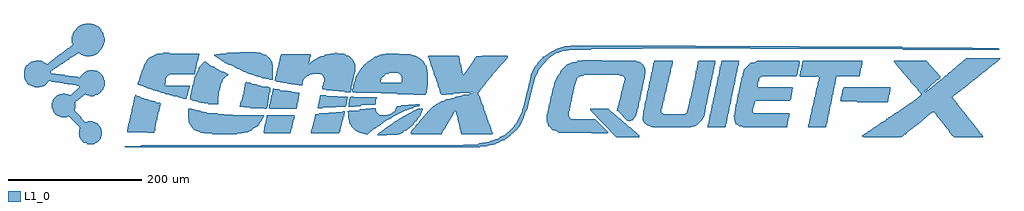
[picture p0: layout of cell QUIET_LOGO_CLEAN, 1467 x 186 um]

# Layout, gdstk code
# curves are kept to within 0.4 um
import gdstk
lib = gdstk.Library(unit=1e-6, precision=1e-09)
def P(c, l, *ps):  # polygons
    for p in ps: c.add(gdstk.Polygon(p, *l))
L1_0 = (1, 0)

quiet_logo_clean = lib.new_cell('QUIET_LOGO_CLEAN')
P(quiet_logo_clean, L1_0, [(404,77),(404,74),(403,73),(403,70),(402,69),(402,65),(401,64),(401,61),(400,60),(400,56),(399,55),(399,51),(400,50),(439,50),(440,51),(441,57),(442,58),(442,62),(443,63),(443,66),(444,67),(444,70),(445,71),(445,74),(446,75),(445,77)],
  [(521,83),(518,83),(517,82),(508,82),(507,81),(497,81),(496,80),(483,80),(482,79),(477,79),(477,76),(476,75),(476,72),(475,71),(475,68),(474,67),(474,64),(472,60),(472,57),(471,56),(471,53),(470,51),(471,50),(512,50),(514,53),(514,56),(515,57),(515,60),(516,61),(517,68),(519,72),(519,75),(520,76)],
  [(890,87),(890,85),(929,44),(964,44),(964,47),(963,47),(957,53),(956,53),(950,59),(949,59),(943,65),(942,65),(935,72),(934,72),(928,78),(927,78),(917,87)],
  [(286,87),(286,72),(287,71),(287,66),(290,62),(291,59),(296,55),(300,53),(302,53),(305,51),(309,51),(310,50),(321,50),(322,49),(359,49),(360,50),(366,50),(367,51),(370,51),(371,52),(375,52),(381,55),(383,57),(390,61),(393,65),(393,66),(396,69),(397,72),(400,76),(399,77),(354,77),(353,78),(340,78),(339,79),(331,79),(330,80),(314,81),(313,82),(305,83),(304,84),(301,84),(300,85),(296,85),(295,86),(292,86),(291,87)],
  [(638,87),(637,88),(631,87),(615,79),(613,77),(603,72),(601,70),(600,70),(598,68),(597,68),(595,66),(594,66),(592,64),(591,64),(589,62),(582,58),(579,55),(578,55),(575,52),(574,52),(570,48),(571,47),(584,47),(585,48),(600,48),(601,49),(604,49),(608,51),(610,53),(614,55),(617,58),(618,58),(621,61),(622,61),(625,64),(625,65),(630,70),(632,74),(635,77),(636,81),(637,82),(637,84),(638,85)],
  [(634,93),(633,94),(628,94),(627,93),(617,93),(616,92),(606,92),(605,91),(599,91),(599,89),(598,88),(597,84),(592,80),(588,78),(586,78),(585,77),(575,77),(573,78),(569,82),(568,84),(568,88),(561,88),(560,87),(553,87),(552,86),(544,86),(543,85),(528,84),(527,83),(525,83),(526,81),(526,73),(527,72),(529,64),(531,62),(531,61),(538,54),(544,51),(546,51),(547,50),(555,48),(560,53),(561,53),(564,56),(568,58),(571,61),(572,61),(583,69),(591,73),(593,75),(613,85),(615,85),(616,86),(618,86),(619,87),(621,87),(622,88),(624,88),(625,89),(633,91)],
  [(526,90),(536,90),(537,91),(545,91),(546,92),(566,93),(568,94),(568,100),(570,104),(536,104),(535,105),(530,105),(528,101),(528,98),(527,97),(527,91)],
  [(480,89),(481,88),(488,88),(489,89),(507,89),(508,90),(522,90),(524,94),(524,98),(525,99),(525,103),(526,104),(525,105),(511,105),(510,106),(494,106),(493,107),(484,107),(483,99),(482,98),(482,95),(481,94),(481,91)],
  [(206,108),(206,106),(205,105),(205,101),(204,100),(204,97),(203,96),(203,92),(202,91),(202,88),(201,87),(201,83),(200,82),(200,79),(199,78),(199,74),(198,73),(198,70),(197,69),(197,66),(196,65),(196,61),(195,60),(195,57),(194,56),(194,52),(224,52),(225,51),(235,51),(235,53),(236,54),(236,60),(237,61),(237,65),(238,66),(238,69),(239,70),(239,74),(240,75),(241,82),(242,83),(243,89),(244,90),(244,93),(245,94),(243,96),(237,97),(236,98),(233,98),(232,99),(229,99),(225,101),(222,101),(219,103),(217,103),(212,106),(210,106)],
  [(414,118),(413,116),(413,113),(412,112),(412,108),(411,107),(410,99),(409,98),(409,95),(408,94),(408,90),(407,88),(409,87),(449,87),(449,90),(450,91),(450,96),(451,97),(451,101),(452,102),(452,106),(453,107),(453,111),(448,111),(447,112),(442,112),(441,113),(436,113),(435,114),(424,115),(423,116),(415,117)],
  [(1266,99),(1267,98),(1291,98),(1292,97),(1337,97),(1338,98),(1338,102),(1339,103),(1339,107),(1340,108),(1340,112),(1341,113),(1341,117),(1342,118),(1341,119),(1271,119),(1269,115),(1269,111),(1268,110),(1268,106),(1267,105),(1267,101)],
  [(373,128),(371,124),(371,120),(370,119),(370,115),(369,114),(369,109),(368,108),(368,105),(367,104),(367,102),(366,101),(366,99),(365,98),(363,90),(369,90),(370,89),(378,89),(379,88),(399,88),(400,87),(403,87),(405,91),(405,95),(406,96),(406,100),(407,101),(407,106),(408,107),(408,111),(409,112),(409,116),(410,118),(406,120),(396,121),(395,122),(392,122),(388,124),(381,125),(380,126),(374,127)],
  [(310,158),(302,149),(302,147),(295,133),(294,126),(292,122),(292,118),(291,117),(290,108),(289,107),(289,102),(288,101),(292,100),(293,99),(296,99),(297,98),(300,98),(301,97),(304,97),(305,96),(309,96),(310,95),(315,95),(316,94),(331,94),(331,105),(332,106),(332,113),(333,114),(334,121),(335,122),(335,124),(337,127),(338,131),(344,137),(345,137),(346,139),(339,143),(337,143),(327,148),(325,150),(320,152),(312,158)],
  [(1299,159),(1210,159),(1209,158),(1208,150),(1207,149),(1207,145),(1206,144),(1206,140),(1205,139),(1205,136),(1206,135),(1230,135),(1232,136),(1234,134),(1233,128),(1232,127),(1232,123),(1231,122),(1231,119),(1230,118),(1230,114),(1229,113),(1229,110),(1228,109),(1228,105),(1227,104),(1227,101),(1226,100),(1226,96),(1225,95),(1225,92),(1224,91),(1224,88),(1223,87),(1223,83),(1222,82),(1222,79),(1221,78),(1221,74),(1220,73),(1220,70),(1219,69),(1219,65),(1218,64),(1218,61),(1217,60),(1218,59),(1244,59),(1245,60),(1245,64),(1246,65),(1246,68),(1247,69),(1247,73),(1248,74),(1248,78),(1249,79),(1249,83),(1250,84),(1251,93),(1252,94),(1252,97),(1253,98),(1253,102),(1254,103),(1254,107),(1255,108),(1255,112),(1256,113),(1256,117),(1257,118),(1257,122),(1258,123),(1258,127),(1259,128),(1260,135),(1261,136),(1295,136),(1295,138),(1296,139),(1296,143),(1297,144),(1297,148),(1298,149),(1298,152),(1299,153),(1299,157),(1300,158)],
  [(1131,156),(1121,146),(1121,144),(1119,140),(1119,137),(1117,133),(1117,129),(1116,128),(1115,119),(1114,118),(1114,115),(1113,114),(1113,110),(1112,109),(1112,105),(1111,104),(1111,100),(1110,99),(1110,95),(1109,94),(1109,90),(1108,89),(1107,78),(1106,77),(1107,68),(1109,64),(1112,63),(1114,61),(1116,61),(1120,59),(1186,59),(1186,63),(1187,64),(1188,73),(1189,74),(1189,77),(1190,78),(1189,80),(1136,80),(1134,83),(1134,86),(1136,90),(1137,96),(1139,99),(1190,99),(1192,102),(1192,106),(1193,107),(1193,111),(1194,112),(1194,116),(1195,117),(1194,119),(1143,119),(1142,120),(1142,126),(1144,130),(1144,133),(1149,136),(1200,136),(1202,140),(1202,144),(1203,145),(1203,149),(1204,150),(1205,158),(1204,159),(1141,159),(1137,157)],
  [(1113,159),(1088,159),(1087,158),(1087,155),(1086,154),(1086,151),(1085,150),(1085,146),(1084,145),(1084,141),(1083,140),(1083,136),(1082,135),(1081,127),(1080,126),(1080,122),(1079,121),(1079,117),(1078,116),(1078,113),(1077,112),(1076,103),(1075,102),(1075,99),(1074,98),(1074,94),(1073,93),(1072,84),(1071,83),(1071,80),(1070,79),(1070,75),(1069,74),(1068,65),(1067,64),(1067,61),(1066,60),(1067,59),(1093,59),(1094,60),(1094,64),(1095,65),(1095,69),(1096,70),(1097,79),(1098,80),(1098,83),(1099,84),(1099,88),(1100,89),(1100,93),(1101,94),(1101,98),(1102,99),(1102,103),(1103,104),(1104,113),(1105,114),(1105,117),(1106,118),(1106,122),(1107,123),(1107,127),(1108,128),(1108,132),(1109,133),(1110,142),(1111,143),(1112,151),(1113,152),(1113,156),(1114,157)],
  [(986,159),(986,157),(985,156),(985,152),(984,151),(984,148),(983,147),(983,143),(982,142),(982,138),(981,137),(981,134),(980,133),(980,129),(979,128),(978,119),(977,118),(977,115),(976,114),(976,110),(975,109),(974,100),(973,99),(973,96),(972,95),(971,86),(970,85),(970,77),(969,76),(969,70),(971,66),(976,62),(980,61),(981,60),(983,60),(984,59),(1041,59),(1042,60),(1044,60),(1045,61),(1047,61),(1051,63),(1058,70),(1062,77),(1062,81),(1063,82),(1063,86),(1064,87),(1064,92),(1065,93),(1065,96),(1066,97),(1066,101),(1067,102),(1068,111),(1069,112),(1069,115),(1070,116),(1070,120),(1071,121),(1072,130),(1073,131),(1074,139),(1075,140),(1075,144),(1076,145),(1077,153),(1078,154),(1078,159),(1053,159),(1052,158),(1051,150),(1050,149),(1050,145),(1049,144),(1049,140),(1048,139),(1048,135),(1047,134),(1047,130),(1046,129),(1046,125),(1045,124),(1045,121),(1044,120),(1043,111),(1042,110),(1042,107),(1041,106),(1041,103),(1040,102),(1040,99),(1039,98),(1039,95),(1038,94),(1037,86),(1036,85),(1035,81),(1032,79),(1001,79),(997,82),(997,87),(998,88),(998,91),(999,92),(999,95),(1000,96),(1000,99),(1001,100),(1001,104),(1002,105),(1002,108),(1003,109),(1003,112),(1004,113),(1004,116),(1005,117),(1005,120),(1006,121),(1006,125),(1007,126),(1007,129),(1008,130),(1008,133),(1009,134),(1009,137),(1010,138),(1010,141),(1011,142),(1011,146),(1012,147),(1012,150),(1013,151),(1013,154),(1014,155),(1014,159)],
  [(841,137),(836,126),(836,123),(835,122),(835,119),(834,118),(834,115),(833,114),(833,111),(832,110),(832,107),(831,106),(831,103),(830,102),(830,98),(829,97),(829,94),(828,93),(828,89),(827,88),(827,85),(826,84),(826,80),(825,79),(825,67),(826,66),(827,61),(829,60),(834,55),(838,54),(843,51),(891,51),(892,50),(916,50),(917,51),(917,52),(898,71),(863,71),(861,72),(858,76),(858,83),(859,84),(859,88),(860,89),(860,92),(861,93),(861,97),(862,98),(863,107),(864,108),(865,116),(866,117),(866,121),(867,122),(868,127),(870,130),(870,132),(873,135),(877,137),(880,137),(881,138),(934,138),(935,137),(938,137),(940,136),(942,133),(942,130),(941,129),(941,126),(940,125),(940,122),(939,121),(939,118),(938,117),(938,114),(937,113),(937,109),(936,108),(936,105),(935,104),(935,101),(934,100),(934,97),(933,96),(933,93),(932,92),(930,84),(932,83),(946,69),(948,69),(949,68),(954,70),(959,77),(959,79),(961,83),(961,86),(962,87),(962,90),(963,91),(963,95),(964,96),(964,99),(965,100),(965,104),(966,105),(966,108),(967,109),(967,113),(968,114),(969,123),(970,124),(971,132),(972,133),(972,137),(973,138),(973,147),(970,153),(969,153),(965,157),(963,158),(960,158),(959,159),(908,159),(907,160),(879,160),(878,159),(871,159),(870,158),(863,157),(855,153),(846,144),(844,140)],
  [(1359,45),(1363,49),(1364,49),(1373,57),(1374,57),(1377,60),(1378,60),(1382,64),(1383,64),(1402,80),(1403,80),(1405,82),(1407,82),(1411,77),(1411,76),(1419,67),(1419,66),(1422,63),(1422,62),(1430,53),(1430,52),(1433,49),(1433,48),(1437,44),(1480,44),(1481,45),(1479,47),(1479,48),(1475,52),(1475,53),(1467,62),(1467,63),(1464,66),(1464,67),(1456,76),(1456,77),(1453,80),(1453,81),(1445,90),(1445,91),(1442,94),(1442,95),(1434,104),(1441,110),(1442,110),(1446,114),(1447,114),(1451,118),(1452,118),(1456,122),(1457,122),(1461,126),(1462,126),(1466,130),(1467,130),(1471,134),(1472,134),(1476,138),(1477,138),(1481,142),(1482,142),(1486,146),(1487,146),(1491,150),(1492,150),(1496,154),(1497,154),(1501,158),(1502,158),(1506,162),(1506,163),(1455,163),(1444,153),(1443,153),(1431,142),(1430,142),(1425,137),(1424,137),(1418,131),(1417,131),(1412,126),(1411,126),(1402,118),(1400,119),(1412,131),(1413,131),(1416,134),(1416,136),(1395,159),(1347,159),(1346,158),(1349,155),(1349,154),(1360,142),(1360,141),(1382,116),(1397,116),(1400,119),(1401,118),(1398,115),(1397,116),(1382,116),(1382,115),(1384,113),(1393,113),(1395,115),(1396,114),(1394,112),(1393,113),(1384,113),(1387,110),(1388,108),(1378,100),(1377,100),(1374,97),(1373,97),(1371,95),(1370,95),(1368,93),(1367,93),(1365,91),(1364,91),(1362,89),(1355,85),(1352,82),(1351,82),(1349,80),(1348,80),(1346,78),(1345,78),(1343,76),(1342,76),(1340,74),(1339,74),(1337,72),(1336,72),(1334,70),(1327,66),(1324,63),(1323,63),(1321,61),(1320,61),(1318,59),(1317,59),(1315,57),(1314,57),(1312,55),(1311,55),(1309,53),(1308,53),(1306,51),(1299,47),(1299,45),(1301,44),(1357,44)],
  [(668,52),(673,59),(675,64),(677,66),(678,69),(683,76),(685,81),(687,83),(688,83),(689,82),(689,78),(690,77),(690,74),(691,73),(691,70),(692,69),(692,66),(693,65),(693,61),(694,60),(694,57),(695,56),(696,49),(743,49),(744,50),(742,53),(742,55),(741,56),(739,64),(737,67),(737,69),(736,70),(734,78),(732,81),(732,83),(731,84),(729,92),(727,95),(727,97),(726,98),(724,106),(722,109),(722,111),(726,116),(726,117),(733,125),(733,126),(743,137),(743,138),(749,144),(749,145),(754,150),(754,151),(763,160),(763,161),(766,164),(766,166),(765,167),(728,167),(727,166),(719,166),(719,165),(716,162),(716,161),(700,138),(698,141),(697,149),(696,150),(696,153),(695,154),(695,157),(694,158),(694,162),(693,163),(693,166),(692,167),(647,167),(646,165),(648,162),(648,160),(649,159),(651,151),(653,148),(653,146),(654,145),(656,137),(658,134),(658,132),(659,131),(659,129),(661,125),(661,122),(662,121),(662,119),(663,118),(665,110),(667,108),(673,108),(674,109),(684,109),(685,110),(695,110),(696,111),(710,111),(711,112),(713,112),(714,111),(713,110),(711,110),(710,111),(696,111),(708,111),(709,110),(708,109),(699,108),(695,106),(692,106),(691,105),(688,105),(684,103),(681,103),(680,102),(674,101),(671,99),(666,98),(662,95),(659,94),(657,92),(654,91),(645,82),(645,81),(633,68),(633,67),(628,62),(628,61),(622,55),(622,54),(620,52),(620,50),(621,49),(667,49)],
  [(470,166),(470,168),(469,169),(426,169),(424,165),(423,157),(422,156),(422,153),(421,152),(421,149),(420,148),(420,145),(419,144),(419,141),(418,140),(418,137),(417,136),(417,132),(416,131),(416,130),(419,128),(423,128),(424,127),(428,127),(429,126),(434,126),(435,125),(440,125),(441,124),(446,124),(447,123),(457,122),(459,131),(464,136),(467,137),(469,139),(473,139),(474,140),(483,140),(487,138),(490,133),(490,128),(489,127),(489,124),(487,120),(487,116),(492,116),(493,115),(502,115),(503,114),(511,114),(512,113),(520,113),(521,112),(530,112),(530,115),(531,116),(533,112),(537,112),(538,111),(575,111),(576,110),(599,110),(600,109),(623,109),(624,108),(642,108),(644,111),(645,121),(646,122),(646,142),(645,143),(644,151),(642,153),(640,158),(637,161),(636,161),(634,163),(627,167),(621,168),(620,169),(603,169),(602,170),(583,170),(582,169),(578,169),(577,168),(574,168),(573,167),(571,167),(570,166),(566,165),(563,162),(556,158),(549,152),(549,151),(546,148),(546,147),(544,145),(544,144),(542,142),(538,135),(538,133),(537,132),(537,130),(535.5,127),(575,127),(575,130),(576,131),(576,133),(578,135),(579,135),(583,139),(587,140),(588,141),(601,141),(603,140),(607,136),(607,127),(606,126),(576,126),(575,127),(535.5,127),(534,119),(532,115),(531,116),(531,120),(532,121),(533,129),(534,130),(534,133),(535,134),(535,138),(536,139),(536,142),(537,143),(537,154),(534,160),(527,167),(525,167),(520,170),(510,170),(509,171),(507,171),(506,170),(499,170),(498,169),(495,169),(494,168),(491,168),(490,167),(485,166),(475,161),(468,155),(467,156),(468,157),(469,165)],
  [(227,164),(224,161),(219,152),(218,147),(216,144),(216,142),(215,141),(215,139),(214,138),(214,136),(213,135),(213,133),(212,132),(212,130),(210,126),(210,123),(218,121),(221,119),(223,119),(224,118),(226,118),(227,117),(229,117),(230,116),(232,116),(233,115),(235,115),(236,114),(238,114),(239,113),(241,113),(245,111),(248,111),(252,109),(255,109),(259,107),(262,107),(263,106),(270,105),(271,104),(277,103),(278,102),(281,102),(282,101),(284,103),(284,106),(285,107),(286,113),(287,114),(288,120),(289,121),(288,122),(252,122),(251,123),(251,125),(252,126),(252,133),(255,137),(259,139),(296,139),(297,147),(298,148),(298,151),(299,152),(299,156),(301,160),(301,163),(302,164),(302,167),(303,169),(302,170),(258,170),(257,171),(248,171),(247,170),(239,170)],
  [(325,168),(325,167),(327,165),(328,165),(336,159),(339,158),(341,156),(347,153),(349,153),(360,147),(362,147),(369,143),(371,143),(376,140),(378,140),(379,139),(381,139),(382,138),(384,138),(385,137),(387,137),(388,136),(390,136),(391,135),(393,135),(397,133),(402,133),(403,132),(407,132),(408,131),(413,131),(413,153),(412,154),(412,157),(408,164),(407,164),(402,168),(400,168),(394,171),(389,171),(388,172),(363,172),(362,171),(344,171),(343,170),(334,170),(333,169),(328,169),(327,168)],
  [(1505,177),(1503,178),(1465,178),(1464,179),(1360,179),(1359,180),(1206,180),(1205,181),(1204,180),(1203,181),(1049,181),(1048,182),(860,182),(859,181),(851,181),(850,180),(842,178),(830,172),(822,166),(819,165),(819,164),(811,156),(811,155),(807,150),(801,138),(800,130),(799,129),(799,126),(798,125),(798,122),(797,121),(797,118),(796,117),(796,114),(795,113),(795,110),(794,109),(794,106),(793,105),(792,97),(791,96),(790,90),(788,86),(788,83),(779,65),(776,62),(776,61),(766,51),(765,51),(762,48),(755,45),(753,43),(749,41),(747,41),(746,40),(744,40),(743,39),(741,39),(737,37),(734,37),(733,36),(728,36),(727,35),(723,35),(722,34),(700,33),(699,32),(215,32),(214,31),(191,31),(190,30),(192,29),(724,29),(725,30),(735,31),(736,32),(739,32),(740,33),(744,33),(745,34),(747,34),(750,36),(752,36),(757,39),(761,40),(764,43),(765,43),(768,46),(769,46),(773,50),(774,50),(781,57),(781,58),(784,61),(788,68),(788,70),(790,73),(790,75),(792,78),(792,80),(796,88),(797,94),(798,95),(798,99),(799,100),(799,103),(800,104),(800,107),(801,108),(801,111),(802,112),(802,115),(803,116),(803,119),(804,120),(804,123),(805,124),(806,130),(807,131),(807,134),(811,141),(812,145),(817,151),(817,152),(830,165),(831,165),(836,169),(840,171),(842,171),(845,173),(847,173),(848,174),(853,174),(854,175),(858,175),(859,176),(891,176),(892,177),(968,177),(969,178),(1130,178),(1131,177),(1359,177),(1360,176),(1505,176)],
  [(131,215),(130,214),(127,214),(121,211),(114,203),(112,199),(112,197),(111,196),(111,186),(112,185),(112,183),(110,181),(109,181),(106,178),(105,178),(102,175),(101,175),(98,172),(97,172),(94,169),(93,169),(74,154),(65,159),(61,159),(60,160),(50,158),(42,151),(40,147),(40,145),(39,144),(39,134),(40,133),(40,131),(45,125),(45,124),(55,119),(62,119),(63,120),(66,120),(70,122),(77,129),(79,129),(80,128),(85,128),(86,127),(92,127),(93,126),(98,126),(99,125),(104,125),(105,124),(111,124),(112,123),(117,123),(118,122),(121,122),(122,121),(122,119),(109,107),(105,109),(101,109),(100,110),(98,110),(97,109),(93,109),(89,107),(83,101),(82,99),(82,97),(81,96),(81,88),(82,87),(83,83),(87,78),(95,74),(103,74),(106,76),(123,59),(123,57),(122,56),(122,52),(121,51),(122,49),(122,45),(124,41),(129,36),(133,35),(134,34),(144,34),(151,38),(151,39),(154,42),(154,44),(156,48),(156,54),(155,55),(155,57),(153,61),(149,65),(145,67),(143,67),(142,68),(135,68),(134,67),(131,67),(125,73),(125,74),(115,84),(115,86),(116,87),(116,91),(117,92),(116,94),(116,97),(131,109),(134,107),(137,107),(138,106),(144,106),(145,107),(150,108),(152,110),(153,110),(158,116),(159,120),(160,121),(160,130),(159,131),(159,133),(157,137),(152,142),(148,144),(145,144),(144,145),(137,145),(136,144),(134,144),(130,142),(124,136),(123,134),(121,134),(120,135),(114,135),(113,136),(107,136),(106,137),(101,137),(100,138),(94,138),(93,139),(88,139),(87,140),(81,140),(79,142),(79,143),(81,145),(82,145),(84,147),(85,147),(87,149),(88,149),(90,151),(91,151),(93,153),(94,153),(96,155),(97,155),(99,157),(100,157),(102,159),(103,159),(105,161),(106,161),(108,163),(114,166),(121,171),(125,168),(127,168),(128,167),(131,167),(132,166),(139,166),(140,167),(143,167),(149,170),(156,177),(159,183),(159,186),(160,187),(160,194),(159,195),(158,201),(156,203),(155,206),(151,210),(144,214),(141,214),(140,215)])

lib.write_gds('QUIET_LOGO_CLEAN.gds')
